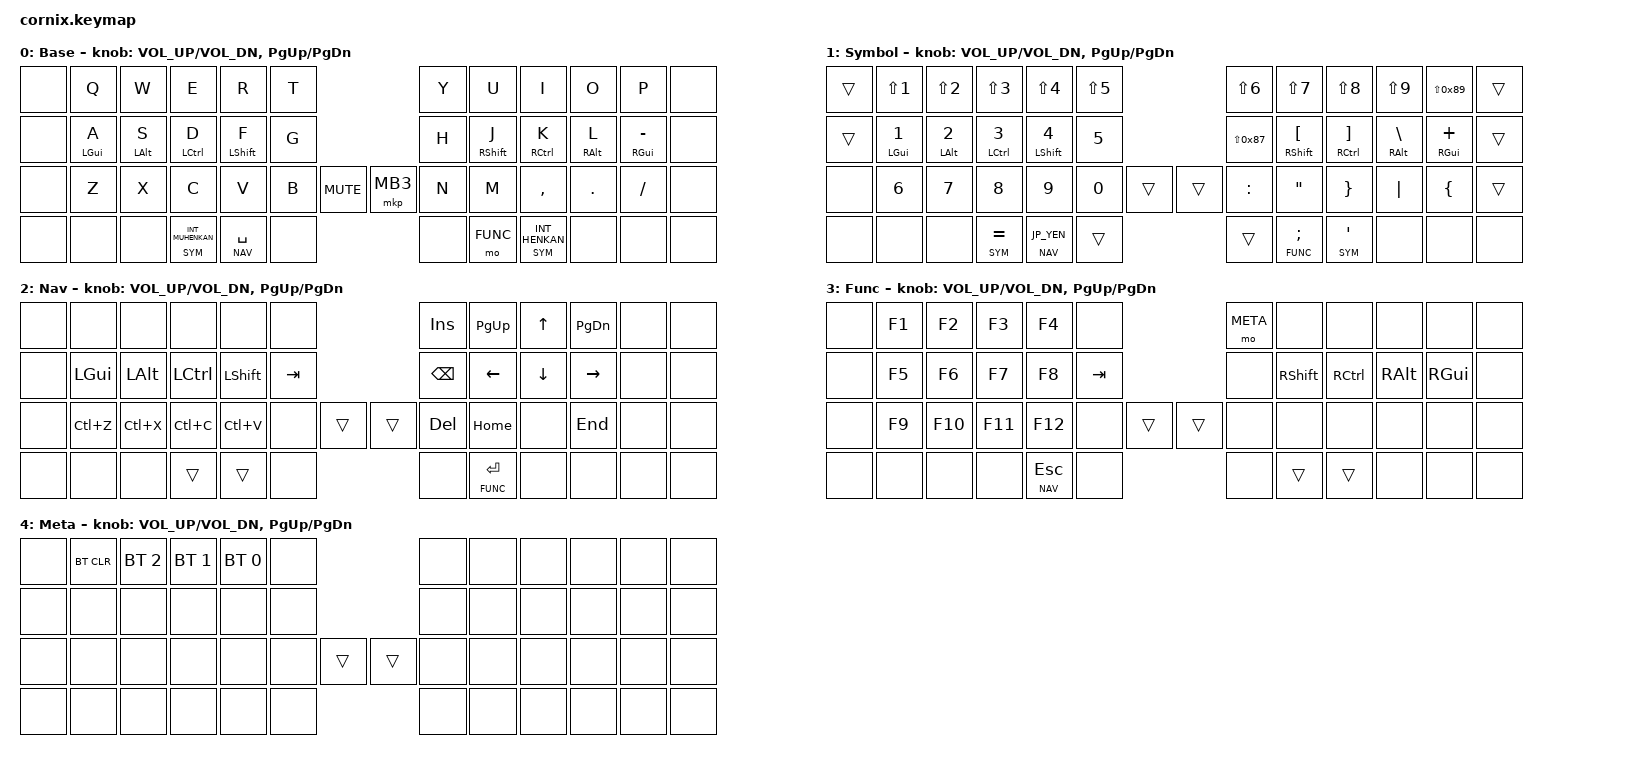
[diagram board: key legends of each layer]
/*
 * Copyright (c) 2020 The ZMK Contributors
 *
 * SPDX-License-Identifier: MIT
 */

#include "zmk-helpers/helper.h"
#include "includes/cornix54.h"

// tap windows for ctl alt
// 変更するときは 1 か所ずつ変え、コミットメッセージに理由 (症状) を残すこと

#define HM_TAPPING_TERM 250
#define HM_PRIOR_IDLE   100  // 2026-10: 70 -> 100 (タイピング中の誤爆対策。文字直後のショートカットが効かなければ下げる)

// shift

#define HM_TAPPING_TERM_SHIFT_L 160  // 2026-10: 190 -> 160 (F を「/」より先に離すと「？」が「ｆ・」になる対策)
#define HM_TAPPING_TERM_SHIFT_R 190
#define HM_PRIOR_IDLE_SHIFT   70

// little finger (GUI)

#define LF_TAPPING_TERM 250  // 2026-10: 280 -> 250 (- 長押し + q の Super+q が、- を 280ms 未満で離して「-q」になるため。左右共通。220 も検討したが左 a の super+m 対策との折衷。まだ -q が出るなら右だけ下げる)

// layer-tap (&lt)

#define LT_TAPPING_TERM 250
#define LT_QUICK_TAP    0    // 2026-10: 175 -> 0 (変換直後に Space 長押し + 右親指で Enter を打つと、quick-tap で Space になっていたため)

// Space (&lt_spc)

#define SPC_TAPPING_TERM 250

// layers

#define BASE 0  // 英字
#define SYM  1  // 数字・記号
#define NAV  2  // カーソル・編集
#define FUNC 3  // ファンクションキー
#define META 4  // Bluetooth

// https://github.com/urob/zmk-config/tree/main#timeless-homerow-mods

#define KEYS_L LT0 LT1 LT2 LT3 LT4 LT5 LM0 LM1 LM2 LM3 LM4 LM5 LB0 LB1 LB2 LB3 LB4 LB5  // left hand
#define KEYS_R RT0 RT1 RT2 RT3 RT4 RT5 RM0 RM1 RM2 RM3 RM4 RM5 RB0 RB1 RB2 RB3 RB4 RB5  // right hand
#define KEYS_T LH2 LH1 RH1 RH2  // 実際に使っている親指キー (41 42 | 45 46)
#define ZMK_POINTING_DEFAULT_SCRL_VAL 15

// 日本語キーボードのまま使用するための変換定義

#define JP_DQUOTE       AT                // "
#define JP_AMPERSAND    CARET             // &
#define JP_QUOTE        AMPERSAND         // '
#define JP_EQUAL        UNDER             // =
#define JP_CARET        EQUAL             // ^
#define JP_YEN          0x89              // ¥
#define JP_PLUS         COLON             // +
#define JP_TILDE        PLUS              // ~
#define JP_PIPE         LS(0x89)          // |
#define JP_AT           LEFT_BRACKET      // @
#define JP_COLON        SINGLE_QUOTE      // :
#define JP_ASTERISK     DOUBLE_QUOTES     // *
#define JP_BACKQUOTE    LEFT_BRACE        // `
#define JP_UNDERSCORE   LS(0x87)          // _
#define JP_LBRACKET     RIGHT_BRACKET     // [
#define JP_RBRACKET     BACKSLASH         // ]
#define JP_LPAREN       ASTERISK          // (
#define JP_RPAREN       LEFT_PARENTHESIS  // )
#define JP_LBRACE       RIGHT_BRACE       // {
#define JP_RBRACE       PIPE              // }
#define JP_KANA         LANGUAGE_1        // かな
#define JP_EISU         LANGUAGE_2        // 英数
#define JP_HANZEN       GRAVE             // 半角/全角

#include <behaviors.dtsi>
#include <dt-bindings/zmk/bt.h>
#include <dt-bindings/zmk/keys.h>
#include <dt-bindings/zmk/pointing.h>

/ {
    behaviors {
        hm_l: homerow_mods_left {
            compatible = "zmk,behavior-hold-tap";
            #binding-cells = <2>;
            bindings = <&kp>, <&kp>;

            // tap-preferred: tapping-term を超えて押し続けたときだけ Ctrl/Alt になる。
            // 2026-10: balanced -> tap-preferred (速く打つと Ctrl/Alt が誤発火するため)。
            // 副作用: 修飾キーを tapping-term 未満で離すショートカットは文字になる。
            flavor = "tap-preferred";
            tapping-term-ms = <HM_TAPPING_TERM>;
            quick-tap-ms = <200>;                // repeat on tap-into-hold
            require-prior-idle-ms = <HM_PRIOR_IDLE>;
            hold-trigger-key-positions = <KEYS_R KEYS_T>;
            hold-trigger-on-release;
        };

        hm_r: homerow_mods_right {
            compatible = "zmk,behavior-hold-tap";
            #binding-cells = <2>;
            bindings = <&kp>, <&kp>;

            // tap-preferred: tapping-term を超えて押し続けたときだけ Ctrl/Alt になる。
            // 2026-10: balanced -> tap-preferred (速く打つと Ctrl/Alt が誤発火するため)。
            // 副作用: 修飾キーを tapping-term 未満で離すショートカットは文字になる。
            flavor = "tap-preferred";
            tapping-term-ms = <HM_TAPPING_TERM>;
            quick-tap-ms = <200>;
            require-prior-idle-ms = <HM_PRIOR_IDLE>;
            hold-trigger-key-positions = <KEYS_L KEYS_T>;
            hold-trigger-on-release;
        };

        // Positional Homerow mods for shift
        // Ctrl/Alt とは別に tapping-term / prior-idle を調整できるよう定数を分けている。

        hm_shift_l: hm_shift_l {
            compatible = "zmk,behavior-hold-tap";
            #binding-cells = <2>;
            bindings = <&kp>, <&kp>;

            flavor = "balanced";
            tapping-term-ms = <HM_TAPPING_TERM_SHIFT_L>;
            quick-tap-ms = <200>;
            require-prior-idle-ms = <HM_PRIOR_IDLE_SHIFT>;
            // LM2 = D (Ctrl)。F と D をほぼ同時に押して F が先に着いたとき (F↓ から tapping-term 以内に D↓)、
            // D が判定対象外だと F が f に戻され Ctrl+Shift にならないため、2026-10 に追加。
            // 副作用: F↓ D↓ D↑ F↑ と重ねると "fd" が "D" になる (ローマ字には fd がないので許容)。
            // S (LM3) は `fs` が "S" になりうるので入れていない。A (LM4) は "fa" を守るため入れない。
            hold-trigger-key-positions = <KEYS_R KEYS_T LM2>;
            // 2026-10: hold-trigger-on-release を外した。付けていると F↓ より前に押していた a の解放
            // (A↓ F↓ A↑ /↓) が「最初の他キー」として記録され、tapping-term 経過後でも f に戻されて
            // 「？」が「ｆ・」になるため。
        };

        hm_shift_r: hm_shift_r {
            compatible = "zmk,behavior-hold-tap";
            #binding-cells = <2>;
            bindings = <&kp>, <&kp>;

            flavor = "balanced";
            tapping-term-ms = <HM_TAPPING_TERM_SHIFT_R>;
            quick-tap-ms = <200>;
            require-prior-idle-ms = <HM_PRIOR_IDLE_SHIFT>;
            hold-trigger-key-positions = <KEYS_L KEYS_T>;
            hold-trigger-on-release;
        };

        little_finger_l: little_finger_l {
            compatible = "zmk,behavior-hold-tap";
            #binding-cells = <2>;
            bindings = <&kp>, <&kp>;

            // tap-preferred: 他のキーの押下・解放では GUI に確定せず、tapping-term 経過で GUI になる。
            // ローマ字では "am" のような a → 反対の手 のロールが多く、balanced だと super+m 等が誤発火するため。
            // (prior-idle / quick-tap / hold-trigger-key-positions の条件は引き続き効く。語頭の a は prior-idle では守れない)
            flavor = "tap-preferred";
            tapping-term-ms = <LF_TAPPING_TERM>;
            quick-tap-ms = <175>;
            require-prior-idle-ms = <150>;
            hold-trigger-key-positions = <KEYS_R KEYS_T>;
            hold-trigger-on-release;
        };

        little_finger_r: little_finger_r {
            compatible = "zmk,behavior-hold-tap";
            #binding-cells = <2>;
            bindings = <&kp>, <&kp>;

            // tap-preferred: 他のキーの押下・解放では GUI に確定せず、tapping-term 経過で GUI になる。
            // ローマ字では "am" のような a → 反対の手 のロールが多く、balanced だと super+m 等が誤発火するため。
            // (prior-idle / quick-tap / hold-trigger-key-positions の条件は引き続き効く。語頭の a は prior-idle では守れない)
            flavor = "tap-preferred";
            tapping-term-ms = <LF_TAPPING_TERM>;
            quick-tap-ms = <175>;
            require-prior-idle-ms = <150>;
            hold-trigger-key-positions = <KEYS_L KEYS_T>;
            hold-trigger-on-release;
        };


        // ZMK 標準の &lt (layer_tap: tap-preferred 200ms) の設定を上書きする。
        // balanced: 押している間に別のキーを押して離すか、tapping-term を超えて押し続けるとレイヤーに入る。
        // Space → 次の文字 のように Space を先に離すロールではレイヤーに入らない。
        // (Space↓ X↓ X↑ Space↑ のように Space を後から離すとレイヤーに入る)
        lt: layer_tap {
            compatible = "zmk,behavior-hold-tap";
            #binding-cells = <2>;
            bindings = <&mo>, <&kp>;

            flavor = "balanced";
            tapping-term-ms = <LT_TAPPING_TERM>;
            quick-tap-ms = <LT_QUICK_TAP>;
        };

        // Space 専用の layer-tap (Base の左親指)。
        // hold-preferred: Space を押している間に他のキーを押した瞬間に NAV に確定する。
        // Enter は「Space 保持 + 右親指 45」で打つため、balanced だと両親指を離す順番で
        // Space (変換) になっていた。2026-10: balanced -> hold-preferred (dca30b6 以前と同じ挙動)。
        // 副作用: Space を離す前に次の文字を押すと NAV のキーになる (これまで報告なし)。
        // quick-tap は 0 のまま (変換直後の Space 保持がタップに固定されないように)。
        lt_spc: layer_tap_space {
            compatible = "zmk,behavior-hold-tap";
            #binding-cells = <2>;
            bindings = <&mo>, <&kp>;

            flavor = "hold-preferred";
            tapping-term-ms = <SPC_TAPPING_TERM>;
            quick-tap-ms = <0>;
        };
    };

    keymap {
        compatible = "zmk,keymap";

        default_layer {
            display-name = "Base";

            // ----------------------------------------------------------------------------------------
            // |  Q   |  W   |  E   |  R   |  T   |                  |  Y   |  U   |  I   |  O   |  P    |
            // | A    | S    | D    | F    |  G   |                  |  H   | J    | K    | L    | -     |
            // | GUI  | ALT  | CTRL | SHFT |      |                  |      | SHFT | CTRL | ALT  | GUI   |
            // |  Z   |  X   |  C   |  V   |  B   |  MUTE  |  | MB3 |  N   |  M   |  ,   |  .   | /     |
            //                      | 無変換| SPC  |                  | FUNC | 変換 |
            //                      | SYM   | NAV  |                  |      | SYM  |

            bindings = <
&none  &kp Q                    &kp W         &kp E                 &kp R                &kp T                        &kp Y  &kp U                 &kp I               &kp O         &kp P                        &none
&none  &little_finger_l LGUI A  &hm_l LALT S  &hm_l LCTRL D         &hm_shift_l LSHFT F  &kp G                        &kp H  &hm_shift_r RSHIFT J  &hm_r RCTRL K       &hm_r RALT L  &little_finger_r RGUI MINUS  &none
&none  &kp Z                    &kp X         &kp C                 &kp V                &kp B  &kp C_MUTE  &mkp MB3  &kp N  &kp M                 &kp COMMA           &kp DOT       &kp SLASH                    &none
&none  &none                    &none         &lt SYM INT_MUHENKAN  &lt_spc NAV SPACE    &none                        &none  &mo FUNC              &lt SYM INT_HENKAN  &none         &none                        &none
            >;

            sensor-bindings = <&inc_dec_kp C_VOL_UP C_VOL_DN &inc_dec_kp PG_UP PG_DN>;
        };

        symbol_layer {
            display-name = "Symbol";

            // ※ OS のキーボード配列は日本語 (JIS) 前提
            // ----------------------------------------------------------------------------------------
            // |  !   |  "   |  #   |  $   |  %   |                  |  &   |  '   |  (   |  )   |  |    |
            // | 1    | 2    | 3    | 4    |  5   |                  |  _   | @    | [    | ]    | ~     |
            // | GUI  | ALT  | CTRL | SHFT |      |                  |      | SHFT | CTRL | ALT  | GUI   |
            // |  6   |  7   |  8   |  9   |  0   |        |  |     |  +   |  *   |  {   |  }   |  `    |
            //                      | ^     | ¥    |                  | ;    | :    |
            //                      | SYM   | NAV  |                  | FUNC | SYM  |

            bindings = <
&trans  &kp LS(NUMBER_1)                &kp LS(NUMBER_2)     &kp LS(NUMBER_3)       &kp LS(NUMBER_4)             &kp LS(NUMBER_5)                  &kp LS(NUMBER_6)   &kp LS(NUMBER_7)          &kp LS(NUMBER_8)         &kp LS(NUMBER_9)        &kp JP_PIPE                     &trans
&trans  &little_finger_l LGUI NUMBER_1  &hm_l LALT NUMBER_2  &hm_l LCTRL NUMBER_3   &hm_shift_l LSHIFT NUMBER_4  &kp NUMBER_5                      &kp JP_UNDERSCORE  &hm_shift_r RSHIFT JP_AT  &hm_r RCTRL JP_LBRACKET  &hm_r RALT JP_RBRACKET  &little_finger_r RGUI JP_TILDE  &trans
&none   &kp NUMBER_6                    &kp N7               &kp NUMBER_8           &kp NUMBER_9                 &kp NUMBER_0      &trans  &trans  &kp JP_PLUS        &kp JP_ASTERISK           &kp JP_LBRACE            &kp JP_RBRACE           &kp JP_BACKQUOTE                &trans
&none   &none                           &none                &lt SYM JP_CARET       &lt NAV JP_YEN               &trans                            &trans             &lt FUNC SEMICOLON        &lt SYM JP_COLON         &none                   &none                           &none
            >;

            sensor-bindings = <&inc_dec_kp C_VOL_UP C_VOL_DN &inc_dec_kp PG_UP PG_DN>;
        };

        nav_layer {
            display-name = "Nav";

            // ----------------------------------------------------------------------------------------
            // |      |      |      |      |      |                  | INS  | PGUP |  ↑   | PGDN |       |
            // | GUI  | ALT  | CTRL | SHFT | TAB  |                  | BSPC |  ←   |  ↓   |  →   |       |
            // | UNDO | CUT  | COPY | PASTE|      |        |  |     | DEL  | HOME |      | END  |       |
            //                      |       |      |                  | ENT  |      |
            //                      |       |      |                  | FUNC |      |

            bindings = <
&none  &none      &none      &none      &none      &none                    &kp INSERT     &kp PAGE_UP     &kp UP    &kp PAGE_DOWN  &none  &none
&none  &kp LGUI   &kp LALT   &kp LCTRL  &kp LSHFT  &kp TAB                  &kp BACKSPACE  &kp LEFT        &kp DOWN  &kp RIGHT      &none  &none
&none  &kp LC(Z)  &kp LC(X)  &kp LC(C)  &kp LC(V)  &none    &trans  &trans  &kp DEL        &kp HOME        &none     &kp END        &none  &none
&none  &none      &none      &trans     &trans     &none                    &none          &lt FUNC ENTER  &none     &none          &none  &none
            >;

            sensor-bindings = <&inc_dec_kp C_VOL_UP C_VOL_DN &inc_dec_kp PG_UP PG_DN>;
        };

        func_layer {
            display-name = "Func";

            // ----------------------------------------------------------------------------------------
            // |  F1  |  F2  |  F3  |  F4  |      |                  | META |      |      |      |       |
            // |  F5  |  F6  |  F7  |  F8  | TAB  |                  |      | SHFT | CTRL | ALT  | GUI   |
            // |  F9  |  F10 |  F11 |  F12 |      |        |  |     |      |      |      |      |       |
            //                      |       | ESC  |                  |      |      |
            // 42 の Esc は &lt NAV ESCAPE (タップで Esc、長押しで NAV)。NAV は FUNC より下のレイヤーなので
            // 長押し側は実質何もしない = タップしたときだけ Esc を 1 回出す (レイヤー順に依存)。
            // &kp ESCAPE にすると押している間 Esc が押されっぱなしになり、OS のキーリピートで連続入力されるため戻した。

            bindings = <
&none  &kp F1  &kp F2   &kp F3   &kp F4      &none                    &mo META  &none       &none      &none     &none     &none
&none  &kp F5  &kp F6   &kp F7   &kp F8      &kp TAB                  &none     &kp RSHIFT  &kp RCTRL  &kp RALT  &kp RGUI  &none
&none  &kp F9  &kp F10  &kp F11  &kp F12     &none    &trans  &trans  &none     &none       &none      &none     &none     &none
&none  &none   &none    &none    &lt NAV ESCAPE  &none                &none     &trans      &trans     &none     &none     &none
            >;

            sensor-bindings = <&inc_dec_kp C_VOL_UP C_VOL_DN &inc_dec_kp PG_UP PG_DN>;
        };

        meta_layer {
            display-name = "Meta";

            // FUNC (右親指 45) を押したまま Y の位置を押し続けると入る
            // ----------------------------------------------------------------------------------------
            // | BT   | BT   | BT   | BT   |      |                  |      |      |      |      |       |
            // | CLR  | SEL2 | SEL1 | SEL0 |      |                  |      |      |      |      |       |

            bindings = <
&none  &bt BT_CLR      &bt BT_SEL 2  &bt BT_SEL 1  &bt BT_SEL 0  &none                  &none  &none  &none  &none  &none  &none
&none  &none           &none         &none         &none         &none                  &none  &none  &none  &none  &none  &none
&none  &none           &none         &none         &none         &none  &trans  &trans  &none  &none  &none  &none  &none  &none
&none  &none           &none         &none         &none         &none                  &none  &none  &none  &none  &none  &none
            >;

            sensor-bindings = <&inc_dec_kp C_VOL_UP C_VOL_DN &inc_dec_kp PG_UP PG_DN>;
        };
    };
};
